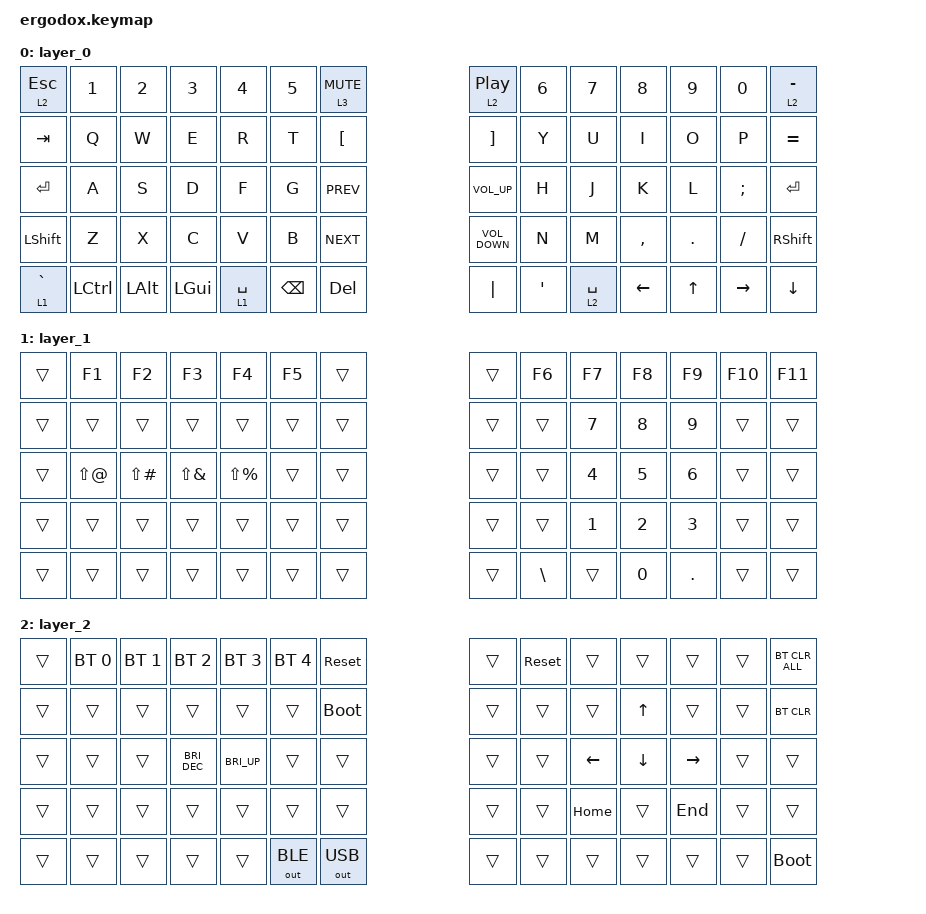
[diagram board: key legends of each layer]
#include <behaviors.dtsi>
#include <dt-bindings/zmk/bt.h>
#include <dt-bindings/zmk/keys.h>
#include <dt-bindings/zmk/outputs.h>

/ {
    keymap {
        compatible = "zmk,keymap";

        layer_0 {
            bindings = <
&lt 2 ESC    &kp N1     &kp N2    &kp N3    &kp N4       &kp N5  &lt 3 K_MUTE                                 &lt 2 C_PLAY_PAUSE  &kp N6  &kp N7       &kp N8     &kp N9   &kp N0     &lt 2 MINUS
&kp TAB      &kp Q      &kp W     &kp E     &kp R        &kp T   &kp LBKT                                     &kp RBKT            &kp Y   &kp U        &kp I      &kp O    &kp P      &kp EQUAL
&kp RET      &kp A      &kp S     &kp D     &kp F        &kp G   &kp C_PREV                                   &kp C_VOLUME_UP     &kp H   &kp J        &kp K      &kp L    &kp SEMI   &kp RET
&kp LSHFT    &kp Z      &kp X     &kp C     &kp V        &kp B                 &kp C_NEXT  &kp C_VOLUME_DOWN                      &kp N   &kp M        &kp COMMA  &kp DOT  &kp FSLH   &kp RSHFT
&lt 1 GRAVE  &kp LCTRL  &kp LALT  &kp LGUI  &lt 1 SPACE          &kp BSPC      &kp DEL     &kp PIPE           &kp SQT                     &lt 2 SPACE  &kp LEFT   &kp UP   &kp RIGHT  &kp DOWN
            >;
        };

        layer_1 {
            bindings = <
&trans  &kp F1      &kp F2         &kp F3        &kp F4         &kp F5  &trans                  &trans                &kp F6  &kp F7  &kp F8  &kp F9   &kp F10  &kp F11
&trans  &trans      &trans         &trans        &trans         &trans  &trans                  &trans                &trans  &kp N7  &kp N8  &kp N9   &trans   &trans
&trans  &kp LS(AT)  &kp LS(POUND)  &kp LS(AMPS)  &kp LS(PRCNT)  &trans  &trans                  &trans                &trans  &kp N4  &kp N5  &kp N6   &trans   &trans
&trans  &trans      &trans         &trans        &trans         &trans          &trans  &trans                        &trans  &kp N1  &kp N2  &kp N3   &trans   &trans
&trans  &trans      &trans         &trans        &trans                 &trans  &trans  &trans  &kp BACKSLASH          &trans  &kp N0  &kp DOT  &trans   &trans
            >;
        };

        layer_2 {
            bindings = <
&trans  &bt BT_SEL 0  &bt BT_SEL 1  &bt BT_SEL 2          &bt BT_SEL 3  &bt BT_SEL 4  &sys_reset                          &trans  &sys_reset  &trans          &trans        &trans     &trans  &bt BT_CLR_ALL
&trans  &trans        &trans        &trans                &trans        &trans        &bootloader                         &trans  &trans      &trans          &kp UP_ARROW  &trans     &trans  &bt BT_CLR
&trans  &trans        &trans        &kp C_BRIGHTNESS_DEC  &kp C_BRI_UP  &trans        &trans                              &trans  &trans      &kp LEFT_ARROW  &kp DOWN      &kp RIGHT  &trans  &trans
&trans  &trans        &trans        &trans                &trans        &trans                      &trans        &trans          &trans      &kp HOME        &trans        &kp END    &trans  &trans
&trans  &trans        &trans        &trans                &trans                      &out OUT_BLE  &out OUT_USB  &trans  &trans              &trans          &trans        &trans     &trans  &bootloader
            >;
        };
    };
};
